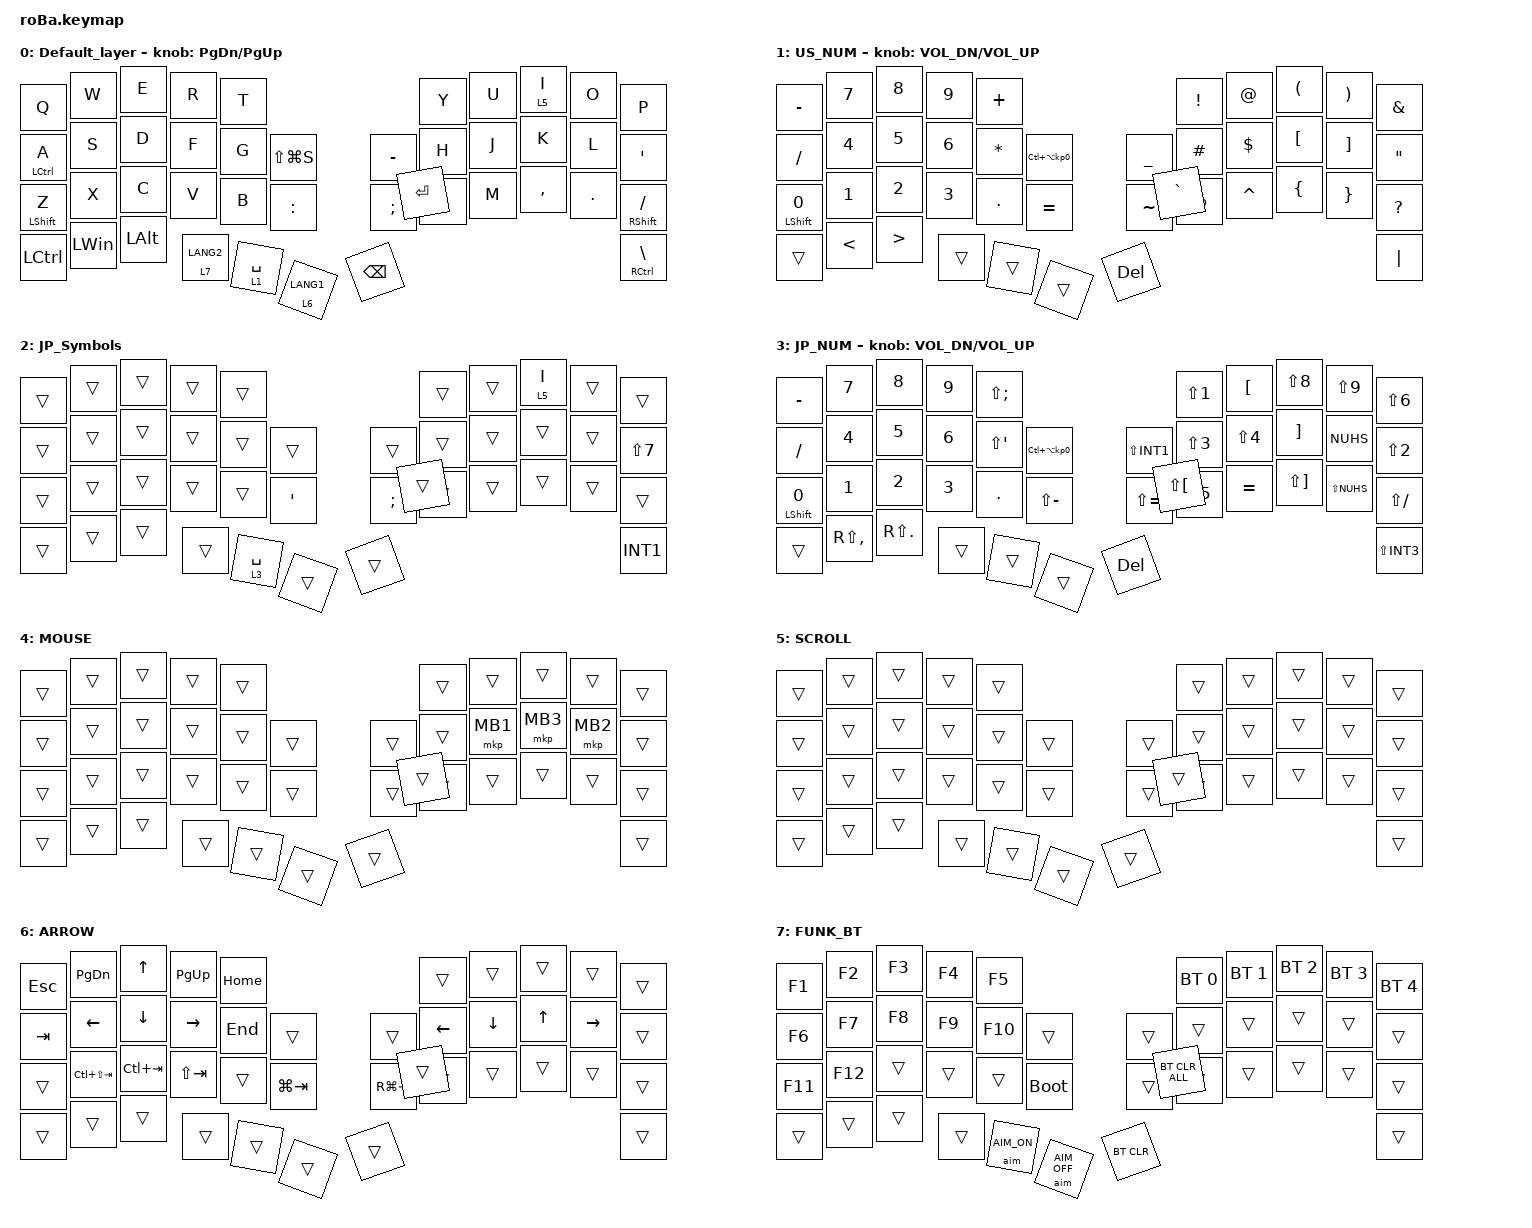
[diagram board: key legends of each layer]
#include <behaviors/anti_idle_mode.dtsi>
#include <dt-bindings/anti_idle_mode.h>
#include <behaviors.dtsi>
#include <dt-bindings/zmk/bt.h>
#include <dt-bindings/zmk/keys.h>
#include <dt-bindings/zmk/pointing.h>

&mt {
    flavor = "balanced";
    quick-tap-ms = <0>;
};

&trackball { scroll-layers = <5>; };

/ {
    anti_idle {
        compatible = "zmk,anti-idle-generic";
        interval-ms = <60000>;              // 実行間隔（ms）
        bindings = <&mmv MOVE_DOWN &mmv MOVE_UP>;  // 実行する動作
        tap_ms = <40>;                      // 各動作の押し時間
        wait_ms = <200>;                    // 動作間の待ち時間
    };

    combos {
        compatible = "zmk,combos";

        tab {
            bindings = <&kp TAB>;
            key-positions = <0 1>;
        };

        shift_tab {
            bindings = <&kp LS(TAB)>;
            key-positions = <1 2>;
        };

        jp {
            bindings = <&to 2>;
            key-positions = <39 38>;
        };

        us {
            bindings = <&to 0>;
            key-positions = <37 38>;
        };
    };

    macros {
        to_layer_0: to_layer_0 {
            compatible = "zmk,behavior-macro-one-param";
            #binding-cells = <1>;
            bindings = <&to 0 &macro_param_1to1 &kp MACRO_PLACEHOLDER>;
            label = "TO_LAYER_0";
        };

        to_jp: to_us {
            compatible = "zmk,behavior-macro";
            #binding-cells = <0>;
            bindings = <&to 2>;     // US_Symbols
        };
    };

    behaviors {
        lt_to_layer_0: lt_to_layer_0 {
            compatible = "zmk,behavior-hold-tap";
            label = "LAYER_TAP_TO_0";
            bindings = <&mo>, <&to_layer_0>;

            #binding-cells = <2>;
            tapping-term-ms = <200>;
        };
    };

    keymap {
        compatible = "zmk,keymap";

        // 0: 共通ベース

        Default_layer {
            bindings = <
&kp Q             &kp W         &kp E         &kp R        &kp T                                          &kp Y      &kp U  &lt 5 I    &kp O    &kp P
&mt LCTRL A       &kp S         &kp D         &kp F        &kp G        &kp LS(LG(S))      &kp MINUS      &kp H      &kp J  &kp K      &kp L    &kp SINGLE_QUOTE
&mt LEFT_SHIFT Z  &kp X         &kp C         &kp V        &kp B        &kp COLON          &kp SEMICOLON  &kp N      &kp M  &kp COMMA  &kp DOT  &mt RIGHT_SHIFT SLASH
&kp LCTRL         &kp LEFT_WIN  &kp LEFT_ALT  &lt 7 LANG2  &lt 1 SPACE  &lt 6 LANG1        &kp BACKSPACE  &kp ENTER                             &mt RCTRL BACKSLASH
            >;

            sensor-bindings = <&inc_dec_kp PAGE_DOWN PAGE_UP>;
        };

        // 1: 英語用NUM

        US_NUM {
            bindings = <
&kp MINUS                &kp NUMBER_7   &kp NUMBER_8      &kp N9        &kp PLUS                                                   &kp EXCLAMATION  &kp AT_SIGN  &kp LEFT_PARENTHESIS  &kp RIGHT_PARENTHESIS  &kp AMPERSAND
&kp SLASH                &kp NUMBER_4   &kp NUMBER_5      &kp NUMBER_6  &kp ASTERISK  &kp LC(LA(KP_NUMBER_0))      &kp UNDERSCORE  &kp HASH         &kp DOLLAR   &kp LEFT_BRACKET      &kp RIGHT_BRACKET      &kp DOUBLE_QUOTES
&mt LEFT_SHIFT NUMBER_0  &kp NUMBER_1   &kp NUMBER_2      &kp NUMBER_3  &kp PERIOD    &kp EQUAL                    &kp TILDE       &kp PERCENT      &kp CARET    &kp LEFT_BRACE        &kp RIGHT_BRACE        &kp QMARK
&trans                   &kp LESS_THAN  &kp GREATER_THAN  &trans        &trans        &trans                       &kp DELETE      &kp GRAVE                                                                  &kp PIPE
            >;

            sensor-bindings = <&inc_dec_kp C_VOL_DN C_VOL_UP>;
        };

        // 2: 日本語環境用記号上書き
        JP_Symbols {
            bindings = <
&trans  &trans  &trans  &trans  &trans                              &trans  &trans  &lt 5 I  &trans  &trans
&trans  &trans  &trans  &trans  &trans       &trans       &trans    &trans  &trans  &trans   &trans  &kp LS(N7)
&trans  &trans  &trans  &trans  &trans       &kp SQT      &kp SEMI  &trans  &trans  &trans   &trans  &trans
&trans  &trans  &trans  &trans  &lt 3 SPACE  &trans       &trans    &trans                           &kp INT1
            >;
        };

        // 3: 日本語用NUM
        JP_NUM {
            bindings = <
&kp MINUS     &kp N7         &kp N8          &kp N9  &kp LS(SEMI)                                        &kp LS(N1)    &kp LBKT    &kp LS(N8)    &kp LS(N9)    &kp LS(N6)
&kp SLASH     &kp N4         &kp N5          &kp N6  &kp LS(SQT)   &kp LC(LA(KP_N0))      &kp LS(INT1)   &kp LS(N3)    &kp LS(N4)  &kp RBKT      &kp NUHS      &kp LS(N2)
&mt LSHFT N0  &kp N1         &kp N2          &kp N3  &kp DOT       &kp LS(MINUS)          &kp LS(EQUAL)  &kp LS(N5)    &kp EQUAL   &kp LS(RBKT)  &kp LS(NUHS)  &kp LS(SLASH)
&trans        &kp RS(COMMA)  &kp RS(PERIOD)  &trans  &trans        &trans                 &kp DELETE     &kp LS(LBKT)                                          &kp LS(INT3)
            >;

            sensor-bindings = <&inc_dec_kp C_VOL_DN C_VOL_UP>;
        };

        // 4: MOUSE

        MOUSE {
            bindings = <
&trans  &trans  &trans  &trans  &trans                      &trans  &trans    &trans    &trans    &trans
&trans  &trans  &trans  &trans  &trans  &trans      &trans  &trans  &mkp MB1  &mkp MB3  &mkp MB2  &trans
&trans  &trans  &trans  &trans  &trans  &trans      &trans  &trans  &trans    &trans    &trans    &trans
&trans  &trans  &trans  &trans  &trans  &trans      &trans  &trans                                &trans
            >;
        };

        // 5: SCROLL

        SCROLL {
            bindings = <
&trans  &trans  &trans  &trans  &trans                      &trans  &trans  &trans  &trans  &trans
&trans  &trans  &trans  &trans  &trans  &trans      &trans  &trans  &trans  &trans  &trans  &trans
&trans  &trans  &trans  &trans  &trans  &trans      &trans  &trans  &trans  &trans  &trans  &trans
&trans  &trans  &trans  &trans  &trans  &trans      &trans  &trans                          &trans
            >;
        };

        // 6: ARROW

        ARROW {
            bindings = <
&kp ESCAPE  &kp PAGE_DOWN    &kp UP_ARROW    &kp PAGE_UP      &kp HOME                                &trans          &trans          &trans        &trans           &trans
&kp TAB     &kp LEFT_ARROW   &kp DOWN_ARROW  &kp RIGHT_ARROW  &kp END   &trans           &trans       &kp LEFT_ARROW  &kp DOWN_ARROW  &kp UP_ARROW  &kp RIGHT_ARROW  &trans
&trans      &kp LC(LS(TAB))  &kp LC(TAB)     &kp LS(TAB)      &trans    &kp LG(TAB)      &kp RG(TAB)  &trans          &trans          &trans        &trans           &trans
&trans      &trans           &trans          &trans           &trans    &trans           &trans       &trans                                                         &trans
            >;
        };

        FUNK_BT {
            bindings = <
&kp F1   &kp F2   &kp F3  &kp F4  &kp F5                                     &bt BT_SEL 0    &bt BT_SEL 1  &bt BT_SEL 2  &bt BT_SEL 3  &bt BT_SEL 4
&kp F6   &kp F7   &kp F8  &kp F9  &kp F10      &trans            &trans      &trans          &trans        &trans        &trans        &trans
&kp F11  &kp F12  &trans  &trans  &trans       &bootloader       &trans      &trans          &trans        &trans        &trans        &trans
&trans   &trans   &trans  &trans  &aim AIM_ON  &aim AIM_OFF      &bt BT_CLR  &bt BT_CLR_ALL                                            &trans
            >;
        };
    };
};
